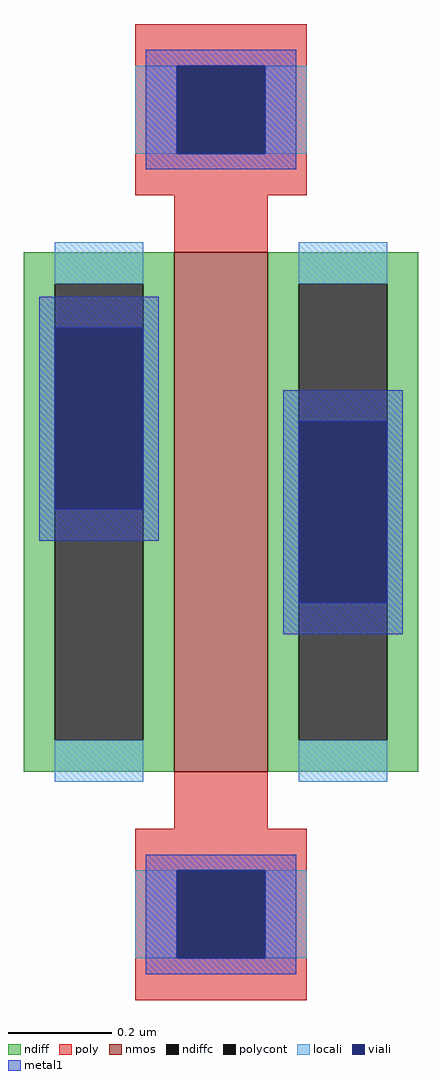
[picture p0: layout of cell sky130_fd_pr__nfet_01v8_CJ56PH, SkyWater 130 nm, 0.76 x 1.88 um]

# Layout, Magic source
magic
tech sky130A
magscale 1 2
<< nmos >>
rect -18 -100 18 100
<< ndiff >>
rect -76 88 -18 100
rect -76 -88 -64 88
rect -30 -88 -18 88
rect -76 -100 -18 -88
rect 18 88 76 100
rect 18 -88 30 88
rect 64 -88 76 88
rect 18 -100 76 -88
<< ndiffc >>
rect -64 -88 -30 88
rect 30 -88 64 88
<< poly >>
rect -33 172 33 188
rect -33 138 -17 172
rect 17 138 33 172
rect -33 122 33 138
rect -18 100 18 122
rect -18 -122 18 -100
rect -33 -138 33 -122
rect -33 -172 -17 -138
rect 17 -172 33 -138
rect -33 -188 33 -172
<< polycont >>
rect -17 138 17 172
rect -17 -172 17 -138
<< locali >>
rect -33 138 -17 172
rect 17 138 33 172
rect -64 88 -30 104
rect -64 -104 -30 -88
rect 30 88 64 104
rect 30 -104 64 -88
rect -33 -172 -17 -138
rect 17 -172 33 -138
<< viali >>
rect -17 138 17 172
rect -64 1 -30 71
rect 30 -35 64 35
rect -17 -172 17 -138
<< metal1 >>
rect -29 172 29 178
rect -29 138 -17 172
rect 17 138 29 172
rect -29 132 29 138
rect -70 71 -24 83
rect -70 1 -64 71
rect -30 1 -24 71
rect -70 -11 -24 1
rect 24 35 70 47
rect 24 -35 30 35
rect 64 -35 70 35
rect 24 -47 70 -35
rect -29 -138 29 -132
rect -29 -172 -17 -138
rect 17 -172 29 -138
rect -29 -178 29 -172
<< properties >>
string gencell sky130_fd_pr__nfet_01v8
string parameters w 1 l 0.18 m 1 nf 1 diffcov 100 polycov 100 guard 0 glc 0 grc 0 gtc 0 gbc 0 tbcov 100 rlcov 100 topc 1 botc 1 poverlap 0 doverlap 1 lmin 0.15 wmin 0.42 compatible {sky130_fd_pr__nfet_01v8 sky130_fd_pr__nfet_01v8_lvt  sky130_fd_bs_flash__special_sonosfet_star  sky130_fd_pr__nfet_g5v0d10v5 sky130_fd_pr__nfet_05v0_nvt  sky130_fd_pr__nfet_03v3_nvt} full_metal 0 viasrc 40 viadrn -40 viagate 100 viagb 80 viagr 0 viagl 0 viagt 0
string library sky130
<< end >>
